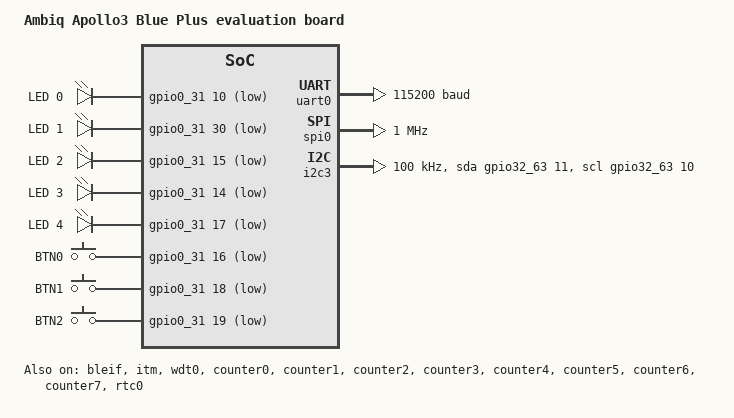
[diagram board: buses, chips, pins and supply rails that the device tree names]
/dts-v1/;
#include <ambiq/ambiq_apollo3p_blue.dtsi>

#include "apollo3p_evb-pinctrl.dtsi"
#include <zephyr/dt-bindings/input/input-event-codes.h>

/ {
	model = "Ambiq Apollo3 Blue Plus evaluation board";
	compatible = "ambiq,apollo3p_evb";

	chosen {
		zephyr,itcm = &tcm;
		zephyr,sram = &sram0;
		zephyr,flash = &flash0;
		zephyr,console = &uart0;
		zephyr,shell-uart = &uart0;
		zephyr,uart-pipe = &uart0;
		zephyr,flash-controller = &flash;
		zephyr,bt_hci = &bt_hci_apollo;
	};

	aliases {
		watchdog0 = &wdt0;
		led0 = &led0;
		led1 = &led1;
		led2 = &led2;
		sw0 = &button0;
		sw1 = &button1;
		rtc = &rtc0;
	};

	leds {
		compatible = "gpio-leds";
		led0: led_0 {
			gpios = <&gpio0_31 10 GPIO_ACTIVE_LOW>;
			label = "LED 0";
		};
		led1: led_1 {
			gpios = <&gpio0_31 30 GPIO_ACTIVE_LOW>;
			label = "LED 1";
		};
		led2: led_2 {
			gpios = <&gpio0_31 15 GPIO_ACTIVE_LOW>;
			label = "LED 2";
		};
		led3: led_3 {
			gpios = <&gpio0_31 14 GPIO_ACTIVE_LOW>;
			label = "LED 3";
		};
		led4: led_4 {
			gpios = <&gpio0_31 17 GPIO_ACTIVE_LOW>;
			label = "LED 4";
		};
	};

	buttons {
		compatible = "gpio-keys";
		button0: button_0 {
			gpios = <&gpio0_31 16 GPIO_ACTIVE_LOW>;
			label = "BTN0";
			zephyr,code = <INPUT_KEY_0>;
		};
		button1: button_1 {
			gpios = <&gpio0_31 18 GPIO_ACTIVE_LOW>;
			label = "BTN1";
			zephyr,code = <INPUT_KEY_1>;
		};
		button2: button_2 {
			gpios = <&gpio0_31 19 GPIO_ACTIVE_LOW>;
			label = "BTN2";
			zephyr,code = <INPUT_KEY_2>;
		};
	};
};

&flash0 {
	erase-block-size = <8192>;
	write-block-size = <4>;

	partitions {
		compatible = "fixed-partitions";
		#address-cells = <1>;
		#size-cells = <1>;

		/* Set 16KB of storage at the end of the 2000KB of flash */
		storage_partition: partition@1f0000 {
			label = "storage";
			reg = <0x001f0000 0x4000>;
		};
	};
};

&stimer0 {
	clk-source = <3>;
};

&bleif {
	pinctrl-0 = <&bleif_default>;
	pinctrl-names = "default";
	status = "okay";
};

&uart0 {
	current-speed = <115200>;
	pinctrl-0 = <&uart0_default>;
	pinctrl-names = "default";
	status = "okay";
};

&itm {
	pinctrl-0 = <&itm_default>;
	pinctrl-names = "default";
	status = "okay";
};

&wdt0 {
	status = "okay";
};

&spi0 {
	pinctrl-0 = <&spi0_default>;
	pinctrl-names = "default";
	cs-gpios = <&gpio0_31 11 GPIO_ACTIVE_LOW>;
	clock-frequency = <DT_FREQ_M(1)>;
	status = "okay";
};

&i2c3 {
	pinctrl-0 = <&i2c3_default>;
	pinctrl-names = "default";
	clock-frequency = <I2C_BITRATE_STANDARD>;
	scl-gpios = <&gpio32_63 10 (GPIO_OPEN_DRAIN | GPIO_PULL_UP)>;
	sda-gpios = <&gpio32_63 11 (GPIO_OPEN_DRAIN | GPIO_PULL_UP)>;
	status = "okay";
};

&counter0 {
	status = "okay";
};

&counter1 {
	status = "okay";
};

&counter2 {
	status = "okay";
};

&counter3 {
	status = "okay";
};

&counter4 {
	status = "okay";
};

&counter5 {
	status = "okay";
};

&counter6 {
	status = "okay";
};

&counter7 {
	status = "okay";
};

&rtc0 {
	status = "okay";
	clock = "XTAL";
};

&adc0 {
	pinctrl-0 = <&adc0_default>;
	pinctrl-names = "default";
	status = "disabled";
};

&gpio0_31 {
	status = "okay";
};

&gpio32_63 {
	status = "okay";
};

&gpio64_95 {
	status = "okay";
};
